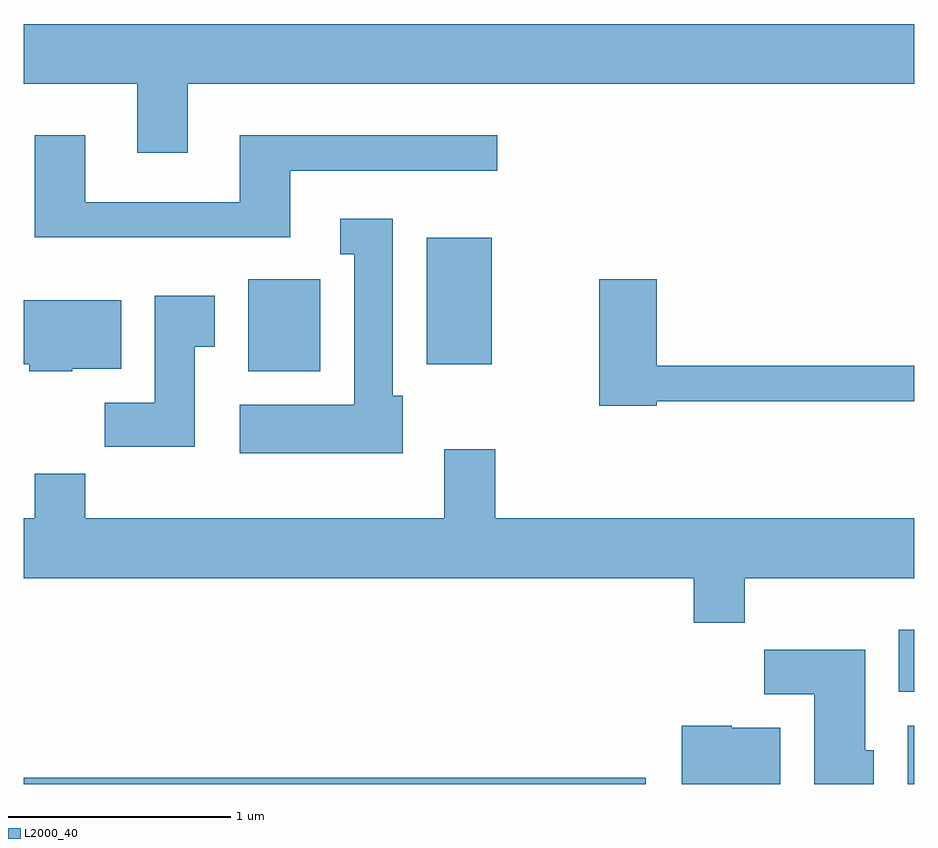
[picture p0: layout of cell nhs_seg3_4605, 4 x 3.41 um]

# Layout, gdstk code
import gdstk
lib = gdstk.Library(unit=1e-6, precision=1e-09)
def R(c, l, rs):  # rectangles x0, y0, x1, y1
    for r in rs: c.add(gdstk.rectangle(r[:2], r[2:], *l))
def P(c, l, *ps):  # polygons
    for p in ps: c.add(gdstk.Polygon(p, *l))
L2000_40 = (2000, 40)

nhs_seg3_4605 = lib.new_cell('nhs_seg3_4605')
R(nhs_seg3_4605, L2000_40, [(319.611,1213.892,322.404,1213.919), (323.581,1213.892,323.611,1214.154), (323.541,1214.306,323.611,1214.584), (320.621,1215.746,320.944,1216.159), (321.421,1215.776,321.714,1216.344)])
P(nhs_seg3_4605, L2000_40, [(320.349,1217.036),(323.611,1217.036),(323.611,1217.304),(319.611,1217.304),(319.611,1217.036),(320.121,1217.036),(320.121,1216.726),(320.349,1216.726)],
  [(320.809,1216.646),(321.738,1216.646),(321.738,1216.804),(320.581,1216.804),(320.581,1216.504),(319.889,1216.504),(319.889,1216.804),(319.661,1216.804),(319.661,1216.346),(320.809,1216.346)],
  [(321.314,1215.634),(321.269,1215.634),(321.269,1216.429),(321.033,1216.429),(321.033,1216.271),(321.096,1216.271),(321.096,1215.594),(320.581,1215.594),(320.581,1215.376),(321.314,1215.376)],
  [(322.454,1215.611),(323.611,1215.611),(323.611,1215.769),(322.454,1215.769),(322.454,1216.159),(322.196,1216.159),(322.196,1215.591),(322.454,1215.591)],
  [(320.379,1215.856),(320.469,1215.856),(320.469,1216.084),(320.201,1216.084),(320.201,1215.604),(319.976,1215.604),(319.976,1215.406),(320.379,1215.406)],
  [(319.83,1215.756),(320.049,1215.756),(320.049,1216.064),(319.611,1216.064),(319.611,1215.776),(319.636,1215.776),(319.636,1215.746),(319.83,1215.746)],
  [(322.849,1214.816),(323.611,1214.816),(323.611,1215.084),(321.729,1215.084),(321.729,1215.394),(321.501,1215.394),(321.501,1215.084),(319.889,1215.084),(319.889,1215.284),(319.661,1215.284),(319.661,1215.084),(319.611,1215.084),(319.611,1214.816),(322.621,1214.816),(322.621,1214.616),(322.849,1214.616)],
  [(323.429,1214.044),(323.389,1214.044),(323.389,1214.494),(322.936,1214.494),(322.936,1214.296),(323.161,1214.296),(323.161,1213.892),(323.429,1213.892)],
  [(323.009,1214.144),(322.79,1214.144),(322.79,1214.154),(322.566,1214.154),(322.566,1213.892),(323.009,1213.892)])

lib.write_gds('nhs_seg3_4605.gds')
